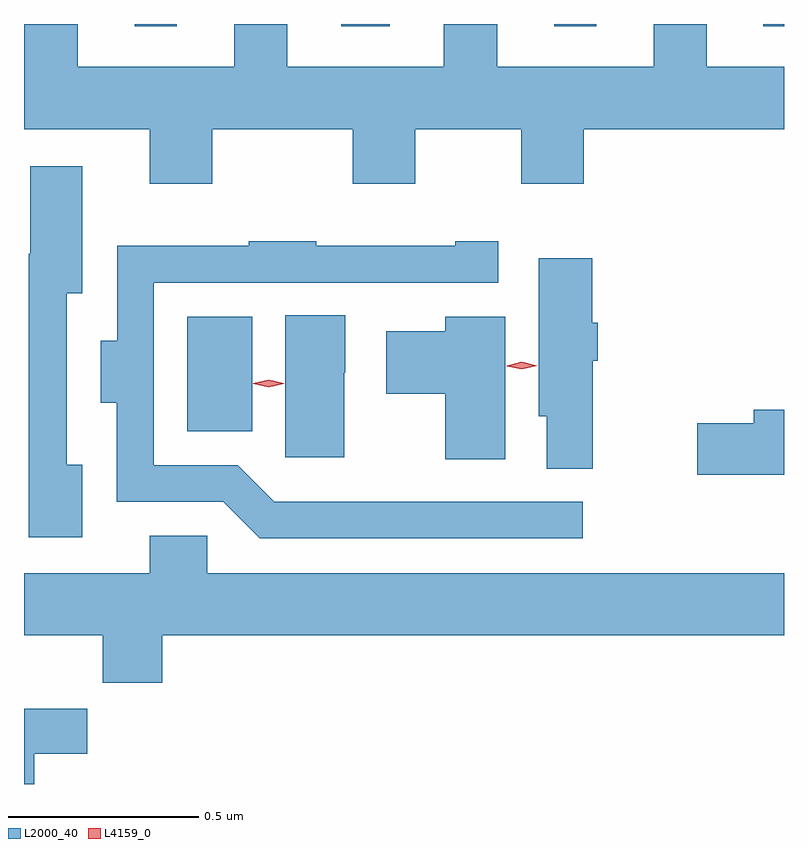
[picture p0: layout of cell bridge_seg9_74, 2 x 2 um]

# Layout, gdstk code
import gdstk
lib = gdstk.Library(unit=1e-6, precision=1e-09)
def R(c, l, rs):  # rectangles x0, y0, x1, y1
    for r in rs: c.add(gdstk.rectangle(r[:2], r[2:], *l))
def P(c, l, *ps):  # polygons
    for p in ps: c.add(gdstk.Polygon(p, *l))
L2000_40 = (2000, 40)
L4159_0 = (4159, 0)

bridge_seg9_74 = lib.new_cell('bridge_seg9_74')
R(bridge_seg9_74, L2000_40, [(1114.598,1222.265,1114.768,1222.567), (1114.46,1223.331,1114.57,1223.337), (1115.003,1223.331,1115.131,1223.337), (1115.564,1223.331,1115.674,1223.337), (1116.113,1223.331,1116.168,1223.337)])
P(bridge_seg9_74, L2000_40, [(1114.663,1223.06),(1115.033,1223.06),(1115.033,1222.917),(1115.197,1222.917),(1115.197,1223.06),(1115.477,1223.06),(1115.477,1222.917),(1115.641,1222.917),(1115.641,1223.06),(1116.168,1223.06),(1116.168,1223.224),(1115.965,1223.224),(1115.965,1223.337),(1115.825,1223.337),(1115.825,1223.224),(1115.413,1223.224),(1115.413,1223.337),(1115.273,1223.337),(1115.273,1223.224),(1114.861,1223.224),(1114.861,1223.337),(1114.721,1223.337),(1114.721,1223.224),(1114.309,1223.224),(1114.309,1223.337),(1114.169,1223.337),(1114.169,1223.224),(1114.168,1223.224),(1114.168,1223.06),(1114.499,1223.06),(1114.499,1222.917),(1114.663,1222.917)],
  [(1114.321,1222.177),(1114.281,1222.177),(1114.281,1222.628),(1114.321,1222.628),(1114.321,1222.963),(1114.184,1222.963),(1114.184,1222.732),(1114.18,1222.732),(1114.18,1221.987),(1114.321,1221.987)],
  [(1115.638,1222.08),(1114.827,1222.08),(1114.731,1222.176),(1114.509,1222.176),(1114.509,1222.656),(1115.416,1222.656),(1115.416,1222.765),(1115.303,1222.765),(1115.303,1222.753),(1114.937,1222.753),(1114.937,1222.765),(1114.759,1222.765),(1114.759,1222.753),(1114.413,1222.753),(1114.413,1222.504),(1114.37,1222.504),(1114.37,1222.34),(1114.412,1222.34),(1114.412,1222.08),(1114.692,1222.08),(1114.788,1221.984),(1115.638,1221.984)],
  [(1115.665,1222.451),(1115.678,1222.451),(1115.678,1222.551),(1115.663,1222.551),(1115.663,1222.72),(1115.522,1222.72),(1115.522,1222.305),(1115.543,1222.305),(1115.543,1222.167),(1115.665,1222.167)],
  [(1115.011,1222.419),(1115.014,1222.419),(1115.014,1222.571),(1114.856,1222.571),(1114.856,1222.197),(1115.011,1222.197)],
  [(1115.434,1222.567),(1115.276,1222.567),(1115.276,1222.528),(1115.121,1222.528),(1115.121,1222.364),(1115.276,1222.364),(1115.276,1222.191),(1115.434,1222.191)],
  [(1116.168,1222.322),(1116.089,1222.322),(1116.089,1222.286),(1115.94,1222.286),(1115.94,1222.151),(1116.168,1222.151)],
  [(1114.532,1221.728),(1116.168,1221.728),(1116.168,1221.892),(1114.65,1221.892),(1114.65,1221.99),(1114.499,1221.99),(1114.499,1221.892),(1114.168,1221.892),(1114.168,1221.728),(1114.375,1221.728),(1114.375,1221.604),(1114.532,1221.604)],
  [(1114.195,1221.416),(1114.334,1221.416),(1114.334,1221.535),(1114.168,1221.535),(1114.168,1221.337),(1114.195,1221.337)])
P(bridge_seg9_74, L4159_0, [(1115.478,1222.428),(1115.438,1222.437),(1115.438,1222.438),(1115.438,1222.438),(1115.478,1222.448),(1115.518,1222.438),(1115.518,1222.438),(1115.518,1222.438)],
  [(1114.812,1222.381),(1114.771,1222.39),(1114.771,1222.391),(1114.771,1222.391),(1114.812,1222.401),(1114.852,1222.391),(1114.852,1222.391),(1114.852,1222.39)])

lib.write_gds('bridge_seg9_74.gds')
